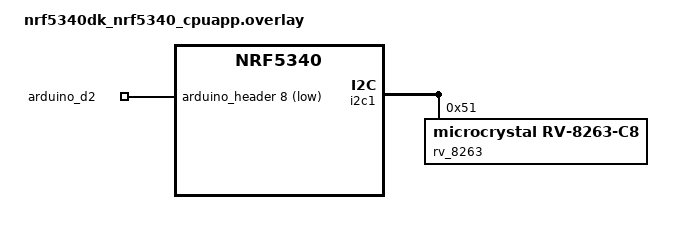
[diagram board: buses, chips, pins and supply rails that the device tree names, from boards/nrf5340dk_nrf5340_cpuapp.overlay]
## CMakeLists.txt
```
# Copyright (c)  2024 LVGL <felipe@lvgl.io>
# SPDX-License-Identifier: Apache-2.0

cmake_minimum_required(VERSION 3.20.0)

set(SHIELD adafruit_2_8_tft_touch_v2 x_nucleo_iks01a3)

find_package(Zephyr REQUIRED HINTS $ENV{ZEPHYR_BASE})
project(SquareLine_Project)

set(LVGL_DIR ${ZEPHYR_LVGL_MODULE_DIR})

FILE(GLOB app_sources src/*.c src/ui/*.c src/ui/images/*.c src/ui/fonts/*.c src/ui/screens/*.c src/ui/components/*.c src/sensors/*.c src/timers/*.c src/interupts/*.c src/bluetooth/*.c src/rtc/*.c src/touchScreen/*.c)
target_sources(app PRIVATE ${app_sources})
target_compile_definitions(app PRIVATE DEBUG_LEVEL=2)
```

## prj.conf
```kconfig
CONFIG_MAIN_STACK_SIZE=8192
CONFIG_LOG=y

# Config for shell
CONFIG_SHELL=y
CONFIG_SHELL_BACKEND_SERIAL=y
CONFIG_SHELL_PROMPT_UART="SamrtWatch> "
CONFIG_SHELL_THREAD_PRIORITY_OVERRIDE=y
CONFIG_SHELL_THREAD_PRIORITY=4


CONFIG_LVGL=y
CONFIG_LV_Z_MEM_POOL_SIZE=48000
CONFIG_LV_Z_SHELL=y
CONFIG_LV_USE_MONKEY=y
CONFIG_LV_COLOR_DEPTH_32=y

CONFIG_DISPLAY=y
CONFIG_INPUT=y

CONFIG_LV_USE_PERF_MONITOR=y

CONFIG_LV_FONT_MONTSERRAT_16=y
CONFIG_LV_FONT_MONTSERRAT_18=y
CONFIG_LV_FONT_MONTSERRAT_20=y
CONFIG_LV_FONT_MONTSERRAT_24=y
CONFIG_LV_FONT_MONTSERRAT_30=y

# Benchmark Demo
CONFIG_LV_USE_FONT_COMPRESSED=y

# Config for smartWatch
CONFIG_STDOUT_CONSOLE=y
CONFIG_GPIO=y
CONFIG_I2C=y
CONFIG_SENSOR=y
CONFIG_CBPRINTF_FP_SUPPORT=y
CONFIG_LSM6DSO_TRIGGER_GLOBAL_THREAD=y
CONFIG_INPUT_GPIO_KEYS=n


# Config for RTC
CONFIG_RTC=y
CONFIG_RTC_RV8263=y

# Config for BLE
CONFIG_NCS_SAMPLES_DEFAULTS=y

CONFIG_BT=y
CONFIG_BT_PERIPHERAL=y
CONFIG_BT_NUS=y
CONFIG_BT_DEVICE_NAME="SamrtWatch"
CONFIG_BT_SMP=y

CONFIG_SYSTEM_WORKQUEUE_STACK_SIZE=2048

CONFIG_BT_KEYS_OVERWRITE_OLDEST=y
CONFIG_BT_SETTINGS=y
CONFIG_FLASH=y
CONFIG_FLASH_MAP=y
CONFIG_NVS=y
CONFIG_SETTINGS=y
```

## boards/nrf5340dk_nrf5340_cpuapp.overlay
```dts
&i2c1 {
    status = "okay";
    rv_8263: rv-8263@51 {
        compatible = "microcrystal,rv-8263-c8";
        reg = <0x51>;
        status = "okay";
    };
};
/ {
int_gpio {
    compatible = "gpio-keys";
    arduino_d2: arduinod2 {
    gpios = <&arduino_header 8 GPIO_ACTIVE_LOW>;
        };
    };
};    
```

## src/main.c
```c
#include <zephyr/kernel.h>
#include <zephyr/drivers/display.h>
#include <lvgl.h>
#include <lvgl_mem.h>
#include "ui/ui.h"
#include "../inc/sensors.h"
#include <stdio.h>
#include "../inc/queue.h"
#include "../inc/timSec.h"
#include "../inc/debug.h"
#include "../inc/button.h"
#include "../inc/bluetooth.h"
#include "../inc/rtc.h"
#include "../inc/touch_screen.h"
#include "ui/screens/ui_Screen2.h"

#define LOG_LEVEL CONFIG_LOG_DEFAULT_LEVEL
#include <zephyr/logging/log.h>
LOG_MODULE_REGISTER(app);


/* Thread stacks */
#define UI_THREAD_STACK_SIZE 2048
#define SENSOR_THREAD_STACK_SIZE 4096
#define BLE_THREAD_STACK_SIZE 4096


/* Thread priorities */
#define UI_THREAD_PRIORITY 5
#define SENSOR_THREAD_PRIORITY 5
#define BLE_THREAD_PRIORITY 5

#define MAX_SENSOR_MSGS 40
K_MSGQ_DEFINE(msgq, sizeof(sensor_msg_t), MAX_SENSOR_MSGS, 4);

/* Define the semaphore for UI readiness */
K_SEM_DEFINE(ui_ready_sem, 0, 1);

K_THREAD_DEFINE(ui_thread_id, UI_THREAD_STACK_SIZE, ui_thread_entry, NULL, NULL, NULL,
                UI_THREAD_PRIORITY, 0, 0);
                
K_THREAD_DEFINE(sensor_thread_id, SENSOR_THREAD_STACK_SIZE, sensors_run, NULL, NULL, NULL,
                SENSOR_THREAD_PRIORITY, 0, 500);

K_THREAD_DEFINE(bluetooth_thread_id, BLE_THREAD_STACK_SIZE, bluetooth_run, NULL, NULL, NULL,
                BLE_THREAD_PRIORITY, 0, 1000);

struct k_msgq* get_msgq(void)
{
    return &msgq;
}

extern void ui_update_analog_clock(void);

int main(void)
{
    MAIN_INFO("Main function started\n");
    const struct device *display_dev;

    display_dev = DEVICE_DT_GET(DT_CHOSEN(zephyr_display));
    if (!device_is_ready(display_dev)) {
        MAIN_ERROR("Display device not ready, aborting test\n");
        return 0;
    }
    MAIN_INFO("Display device is ready\n");

    /* Initialize button handler */
    if (button_init(display_dev) != 0) {
        MAIN_ERROR("Button initialization failed\n");
    }

    /* Initialize touchscreen */
    if (touch_screen_init() != 0) {
        MAIN_ERROR("Touchscreen initialization failed\n");
    } else {
        MAIN_INFO("Touchscreen initialized\n");
    }

    /* Initialize UI */
    ui_init();
    MAIN_INFO("UI initialized\n");
    
    display_blanking_off(display_dev);

#ifdef CONFIG_LV_Z_MEM_POOL_SYS_HEAP
    lvgl_print_heap_info(false);
#else
    MAIN_INFO("LVGL in malloc mode\n");
#endif

    MAIN_INFO("UI thread started\n");
    
    /* Wait a moment to ensure UI thread has started */
    k_sleep(K_MSEC(500));

    MAIN_INFO("Sensor thread scheduled to start\n");

    /* Signal that UI is ready for sensors to start */
    k_sem_give(&ui_ready_sem);
    MAIN_INFO("UI ready semaphore given\n");

    /* Start the timer */
    start_timer();
    printk("Timer started\n");

    /* Main loop */
    while (1) {
        /* Process touchscreen events */
        uint32_t sleep_ms = touch_screen_process();

        /* Update analog clock */
        ui_update_analog_clock();

        /* Limit to max 50 FPS */
        k_msleep(MIN(sleep_ms, 20));
    }

    return 0;
}
```

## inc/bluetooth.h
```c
/**
 * @file bluetooth.h
 * @brief Bluetooth functionality for sensor data service
 *
 * This file contains declarations for Bluetooth functionality 
 * that provides a sensor data service for the connected device.
 *
 * Copyright (c) 2023 Nordic Semiconductor ASA
 * SPDX-License-Identifier: LicenseRef-Nordic-5-Clause
 */

#ifndef BLUETOOTH_H_
#define BLUETOOTH_H_

#ifdef __cplusplus
extern "C" {
#endif

#include <stdbool.h>

/**
 * @brief Initialize and run Bluetooth functionality
 *
 * This function initializes the Bluetooth stack, starts advertising,
 * and handles connections and sensor data notifications. It includes
 * a non-returning loop that continuously processes Bluetooth events.
 */
void bluetooth_run(void);

/**
 * @brief Check if Bluetooth is currently active
 *
 * @return true if Bluetooth is active, false otherwise
 */
bool is_ble_active(void);

/**
 * @brief Restart Bluetooth advertising
 * 
 * Wakes up the Bluetooth thread and restarts advertising
 */
void bluetooth_restart(void);

/**
 * @brief Stop Bluetooth activity
 *
 * Stops advertising and disconnects any active connections
 */
void bluetooth_stop(void);

/**
 * @brief Handler for Bluetooth button press
 *
 * This function is called when a button press should trigger a Bluetooth action
 */
void bluetooth_button_handler(void);

#ifdef __cplusplus
}
#endif

#endif /* BLUETOOTH_H_ */
```

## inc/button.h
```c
#ifndef BUTTON_HANDLER_H
#define BUTTON_HANDLER_H

#include <zephyr/kernel.h>
#include <zephyr/drivers/display.h>

/**
 * @brief Initialize button handler
 *
 * Sets up button GPIO and interrupt handling
 *
 * @param disp_dev Display device reference for toggling display
 * @return 0 on success, negative error code on failure
 */
int button_init(const struct device *disp_dev);

/**
 * @brief Check if display is currently on
 *
 * @return true if display is on, false if off
 */
bool is_display_on(void);

/**
 * @brief Manually turn display on
 */
void display_turn_on(void);

/**
 * @brief Manually turn display off
 */
void display_turn_off(void);

#endif /* BUTTON_HANDLER_H */


void bluetooth_button_handler(void);
```

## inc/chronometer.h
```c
#ifndef CHRONOMETER_H
#define CHRONOMETER_H

/**
 * @brief Gestionnaire d'événements pour le bouton du chronomètre
 * 
 * Cette fonction est appelée lorsqu'un appui est détecté dans la zone du chronomètre
 * sur l'écran tactile.
 */
void chrono_button_handler(void);

#endif /* CHRONOMETER_H */
```

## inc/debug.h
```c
#ifndef DEBUG_H_
#define DEBUG_H_

#include <zephyr/kernel.h>

/* Debug level configuration */
#ifndef DEBUG_LEVEL
#define DEBUG_LEVEL 1  /* Default debug level if not defined elsewhere */
#endif

/* Debug level definitions */
#define DEBUG_NONE    0  /* No debug output */
#define DEBUG_ERROR   1  /* Only errors */
#define DEBUG_INFO    2  /* Errors and general info */
#define DEBUG_VERBOSE 3  /* All debug information */

/* Debug print macros with module tag parameter */
#define DEBUG_ERROR_PRINT(module, fmt, ...) \
    do { if (DEBUG_LEVEL >= DEBUG_ERROR) \
        printk("[%s][ERROR] " fmt, module, ##__VA_ARGS__); } while (0)

#define DEBUG_INFO_PRINT(module, fmt, ...) \
    do { if (DEBUG_LEVEL >= DEBUG_INFO) \
        printk("[%s][INFO] " fmt, module, ##__VA_ARGS__); } while (0)

#define DEBUG_VERBOSE_PRINT(module, fmt, ...) \
    do { if (DEBUG_LEVEL >= DEBUG_VERBOSE) \
        printk("[%s][VERBOSE] " fmt, module, ##__VA_ARGS__); } while (0)

/* Debug print macros for specific modules */
#define SENSORS_ERROR(fmt, ...)   DEBUG_ERROR_PRINT("SENSORS", fmt, ##__VA_ARGS__)
#define SENSORS_INFO(fmt, ...)    DEBUG_INFO_PRINT("SENSORS", fmt, ##__VA_ARGS__)
#define SENSORS_VERBOSE(fmt, ...) DEBUG_VERBOSE_PRINT("SENSORS", fmt, ##__VA_ARGS__)

#define UI_ERROR(fmt, ...)        DEBUG_ERROR_PRINT("UI", fmt, ##__VA_ARGS__)
#define UI_INFO(fmt, ...)         DEBUG_INFO_PRINT("UI", fmt, ##__VA_ARGS__)
#define UI_VERBOSE(fmt, ...)      DEBUG_VERBOSE_PRINT("UI", fmt, ##__VA_ARGS__)

#define MAIN_ERROR(fmt, ...)      DEBUG_ERROR_PRINT("MAIN", fmt, ##__VA_ARGS__)
#define MAIN_INFO(fmt, ...)       DEBUG_INFO_PRINT("MAIN", fmt, ##__VA_ARGS__)
#define MAIN_VERBOSE(fmt, ...)    DEBUG_VERBOSE_PRINT("MAIN", fmt, ##__VA_ARGS__)

#define LIS2MDL_ERROR(fmt, ...)   DEBUG_ERROR_PRINT("LIS2MDL", fmt, ##__VA_ARGS__)
#define LIS2MDL_INFO(fmt, ...)    DEBUG_INFO_PRINT("LIS2MDL", fmt, ##__VA_ARGS__)
#define LIS2MDL_VERBOSE(fmt, ...) DEBUG_VERBOSE_PRINT("LIS2MDL", fmt, ##__VA_ARGS__)

#define HTS221_ERROR(fmt, ...)   DEBUG_ERROR_PRINT("HTS221", fmt, ##__VA_ARGS__)
#define HTS221_INFO(fmt, ...)    DEBUG_INFO_PRINT("HTS221", fmt, ##__VA_ARGS__)
#define HTS221_VERBOSE(fmt, ...) DEBUG_VERBOSE_PRINT("HTS221", fmt, ##__VA_ARGS__)

#define LSM6DSO_ERROR(fmt, ...)   DEBUG_ERROR_PRINT("LSM6DSO", fmt, ##__VA_ARGS__)
#define LSM6DSO_INFO(fmt, ...)    DEBUG_INFO_PRINT("LSM6DSO", fmt, ##__VA_ARGS__)
#define LSM6DSO_VERBOSE(fmt, ...) DEBUG_VERBOSE_PRINT("LSM6DSO", fmt, ##__VA_ARGS__)

#define MAIN_ERROR(fmt, ...)   DEBUG_ERROR_PRINT("MAIN", fmt, ##__VA_ARGS__)
#define MAIN_INFO(fmt, ...)    DEBUG_INFO_PRINT("MAIN", fmt, ##__VA_ARGS__)
#define MAIN_VERBOSE(fmt, ...) DEBUG_VERBOSE_PRINT("MAIN", fmt, ##__VA_ARGS__)

#define BUTTON_ERROR(fmt, ...)   DEBUG_ERROR_PRINT("BUTTON", fmt, ##__VA_ARGS__)
#define BUTTON_INFO(fmt, ...)    DEBUG_INFO_PRINT("BUTTON", fmt, ##__VA_ARGS__)
#define BUTTON_VERBOSE(fmt, ...) DEBUG_VERBOSE_PRINT("BUTTON", fmt, ##__VA_ARGS__)

#define RTC_ERROR(fmt, ...)   DEBUG_ERROR_PRINT("RTC", fmt, ##__VA_ARGS__)
#define RTC_INFO(fmt, ...)    DEBUG_INFO_PRINT("RTC", fmt, ##__VA_ARGS__)
#define RTC_VERBOSE(fmt, ...) DEBUG_VERBOSE_PRINT("RTC", fmt, ##__VA_ARGS__)

#define BT_ERROR(fmt, ...)   DEBUG_ERROR_PRINT("BT", fmt, ##__VA_ARGS__)
#define BT_INFO(fmt, ...)    DEBUG_INFO_PRINT("BT", fmt, ##__VA_ARGS__)
#define BT_VERBOSE(fmt, ...) DEBUG_VERBOSE_PRINT("BT", fmt, ##__VA_ARGS__)

#define TIME_ERROR(fmt, ...)   DEBUG_ERROR_PRINT("TIME", fmt, ##__VA_ARGS__)
#define TIME_INFO(fmt, ...)    DEBUG_INFO_PRINT("TIME", fmt, ##__VA_ARGS__)
#define TIME_VERBOSE(fmt, ...) DEBUG_VERBOSE_PRINT("TIME", fmt, ##__VA_ARGS__)

#endif /* DEBUG_H_ */
```

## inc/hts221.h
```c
#ifndef HTS221_H
#define HTS221_H

#include <stdbool.h>

#ifdef __cplusplus
extern "C" {
#endif

bool my_hts221_init(void);
void hts221_sample(void);

#ifdef __cplusplus
}
#endif

#endif // HTS221_H
```

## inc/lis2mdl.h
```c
/**
 * @file lis2mdl.h
 * @brief Header file for the LIS2MDL magnetometer driver
 *
 * Functions for initializing and sampling data from the LIS2MDL magnetometer
 *
 * Copyright (c) 2023
 * SPDX-License-Identifier: Apache-2.0
 */

#ifndef LIS2MDL_H_
#define LIS2MDL_H_

#include <stdbool.h>

/**
 * @brief Initialize the LIS2MDL magnetometer
 *
 * @return true if initialization was successful, false otherwise
 */
bool my_lis2mdl_init(void);

/**
 * @brief Sample data from the LIS2MDL magnetometer
 *
 * This function will read the current magnetometer values and store them
 * using the store_sensor_reading function. If the device is not available,
 * simulated values will be used.
 */
void lis2mdl_sample(void);

#endif /* LIS2MDL_H_ */
```

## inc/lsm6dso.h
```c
/**
 * @file lsm6dso.h
 * @brief Header file for LSM6DSO accelerometer and gyroscope sensor
 *
 * This file contains the declarations for initializing and sampling
 * from the LSM6DSO 6-axis IMU sensor.
 */

#ifndef LSM6DSO_H
#define LSM6DSO_H

#include <stdbool.h>
#include <stdint.h>

/**
 * @brief Initialize the LSM6DSO accelerometer and gyroscope
 *
 * This function attempts to initialize the LSM6DSO sensor and
 * set the appropriate sampling frequency.
 *
 * @return true if initialization is successful, false otherwise
 */
bool my_lsm6dso_init(void);

/**
 * @brief Sample data from the LSM6DSO sensor
 *
 * This function fetches the latest accelerometer and gyroscope data
 * from the LSM6DSO sensor and processes it. If the sensor is not
 * available, it will use simulated values.
 */
void lsm6dso_sample(void);

/**
 * @brief Fetch current step count
 * 
 * @param steps Pointer to store step count value
 * @return int 0 on success, negative error code otherwise
 */
int lsm6dso_get_step_count(uint32_t *steps);

/**
 * @brief Reset step counter to zero
 * 
 * @return int 0 on success, negative error code otherwise
 */
int lsm6dso_reset_step_count(void);

// Détection d'activité
bool lsm6dso_detect_activity(void);
bool lsm6dso_is_activity_detected(void);

#endif /* LSM6DSO_H */
```

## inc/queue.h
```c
#ifndef TEMP_QUEUE_H
#define TEMP_QUEUE_H

#include <zephyr/kernel.h>

/* Define message types */
typedef enum {
    MSG_TYPE_TEMPERATURE,
    MSG_TYPE_HUMIDITY,
    MSG_TYPE_ACCEL_X,
    MSG_TYPE_ACCEL_Y,
    MSG_TYPE_ACCEL_Z,
    MSG_TYPE_GYRO_X,
    MSG_TYPE_GYRO_Y,
    MSG_TYPE_GYRO_Z,
    MSG_TYPE_MAG_X,
    MSG_TYPE_MAG_Y,
    MSG_TYPE_MAG_Z,
    MSG_TYPE_STEP_COUNT,  // Step counter message type
} sensor_msg_type_t;

/* Message structure to hold both value and type */
typedef struct {
    sensor_msg_type_t type;
    double value;
} sensor_msg_t;

/**
 * @brief Get the pointer to the sensor message queue
 * 
 * @return Pointer to the sensor message queue
 */
struct k_msgq *get_msgq(void);

#endif /* TEMP_QUEUE_H */
```

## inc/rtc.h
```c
#ifndef RTC_H_
#define RTC_H_

#include <zephyr/kernel.h>
#include <zephyr/device.h>
#include <zephyr/drivers/rtc.h>

/**
 * @brief Initialise la RTC RV8263
 * 
 * @return int 0 si succès, code d'erreur sinon
 */
int rtc_init(void);

/**
 * @brief Défini l'heure actuelle
 * 
 * @param year Année (2000-2099)
 * @param month Mois (1-12)
 * @param day Jour (1-31)
 * @param hour Heure (0-23)
 * @param minute Minute (0-59)
 * @param second Seconde (0-59)
 * @return int 0 si succès, code d'erreur sinon
 */
int rtc_set_datetime(uint16_t year, uint8_t month, uint8_t day,
                     uint8_t hour, uint8_t minute, uint8_t second);

/**
 * @brief Récupère l'heure actuelle
 * 
 * @param year Pointeur pour stocker l'année
 * @param month Pointeur pour stocker le mois
 * @param day Pointeur pour stocker le jour
 * @param hour Pointeur pour stocker l'heure
 * @param minute Pointeur pour stocker les minutes
 * @param second Pointeur pour stocker les secondes
 * @return int 0 si succès, code d'erreur sinon
 */
int rtc_get_datetime(uint16_t *year, uint8_t *month, uint8_t *day,
                     uint8_t *hour, uint8_t *minute, uint8_t *second);

/**
 * @brief Lit directement la date depuis le matériel RTC
 * 
 * @param year Pointeur pour stocker l'année
 * @param month Pointeur pour stocker le mois
 * @param day Pointeur pour stocker le jour
 * @param hour Pointeur pour stocker l'heure
 * @param minute Pointeur pour stocker les minutes
 * @param second Pointeur pour stocker les secondes
 * @return int 0 si succès, code d'erreur sinon
 */
int rtc_read_date(uint16_t *year, uint8_t *month, uint8_t *day,
                  uint8_t *hour, uint8_t *minute, uint8_t *second);

/**
 * @brief Synchronise les variables globales de temps avec le matériel RTC
 * 
 * @return int 0 si succès, code d'erreur sinon
 */
int rtc_sync_global_time(void);

/* Variables globales pour stocker l'heure actuelle */
extern uint16_t g_current_year;
extern uint8_t g_current_month;
extern uint8_t g_current_day;
extern uint8_t g_current_hour;
extern uint8_t g_current_minute;
extern uint8_t g_current_second;

/* Fonction pour mettre à jour les variables globales */
int rtc_update_global_time(void);

/* Alias pour rtc_get_datetime pour corriger l'erreur de compilation */
int rtc_get_datetimes(uint16_t *year, uint8_t *month, uint8_t *day,
                      uint8_t *hour, uint8_t *minute, uint8_t *second);

/**
 * @brief Incrémente l'heure interne d'une seconde
 * 
 * Cette fonction est appelée chaque seconde pour maintenir l'heure interne
 * lorsque la RTC n'est pas disponible.
 */
void increment_time(void);

#endif /* RTC_H_ */
```

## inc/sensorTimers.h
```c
#ifndef SENSOR_TIMERS_H
#define SENSOR_TIMERS_H

/**
 * @brief Initialize sensor timers
 * 
 * Initializes timers for periodic sensor sampling
 */
void init_sensor_timers(void);

/**
 * @brief Start all sensor timers
 * 
 * Starts timers for periodic sensor sampling with appropriate intervals
 */
void start_sensor_timers(void);

/**
 * @brief Stop all sensor timers
 * 
 * Stops all sensor sampling timers
 */
void stop_sensor_timers(void);

#endif /* SENSOR_TIMERS_H */
```

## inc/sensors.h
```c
#ifndef SENSORS_H
#define SENSORS_H

#include <zephyr/kernel.h>
#include <stdbool.h>
#include "queue.h"

/* Sensor data structure */
typedef struct {
    double temperature;  /* Temperature reading */
    double humidity;     /* Humidity reading */
    double accel_x;      /* Accelerometer X-axis reading */
    double accel_y;      /* Accelerometer Y-axis reading */
    double accel_z;      /* Accelerometer Z-axis reading */
    double gyro_x;       /* Gyroscope X-axis reading */
    double gyro_y;       /* Gyroscope Y-axis reading */
    double gyro_z;       /* Gyroscope Z-axis reading */
    double mag_x;        /* Magnetometer X-axis reading */
    double mag_y;        /* Magnetometer Y-axis reading */
    double mag_z;        /* Magnetometer Z-axis reading */
    double step_count;   /* Step counter reading */
} sensor_data_t;

/**
 * @brief Store a sensor reading based on type
 * 
 * @param type Type of sensor reading (from sensor_msg_type_t)
 * @param value Value to store
 */
void store_sensor_reading(sensor_msg_type_t type, double value);

/**
 * @brief Store a temperature reading (backward compatibility)
 * 
 * @param temperature Temperature value to store
 */
void store_reading(double temperature);

/**
 * @brief Initialize all sensors
 */
void sensors_init(void);

/**
 * @brief Sensors thread entry point
 */
void sensors_run(void *p1, void *p2, void *p3);

/**
 * @brief Get HTS221 semaphore for signaling
 * 
 * @return Pointer to the HTS221 semaphore
 */
struct k_sem *get_hts221_sem(void);

/**
 * @brief Get LIS2MDL semaphore for signaling
 * 
 * @return Pointer to the LIS2MDL semaphore
 */
struct k_sem *get_lis2mdl_sem(void);

/**
 * @brief Get LSM6DSO semaphore for signaling
 * 
 * @return Pointer to the LSM6DSO semaphore
 */
struct k_sem *get_lsm6dso_sem(void);

#endif /* SENSORS_H */
```

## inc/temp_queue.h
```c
#ifndef TEMP_QUEUE_H
#define TEMP_QUEUE_H

#include <zephyr/kernel.h>

/* Define message types */
typedef enum {
    MSG_TYPE_TEMPERATURE,
    MSG_TYPE_HUMIDITY
} sensor_msg_type_t;

/* Message structure to hold both value and type */
typedef struct {
    sensor_msg_type_t type;
    double value;
} sensor_msg_t;

/**
 * @brief Get the pointer to the sensor message queue
 * 
 * @return Pointer to the sensor message queue
 */
struct k_msgq *get_temp_msgq(void);

#endif /* TEMP_QUEUE_H */
```
